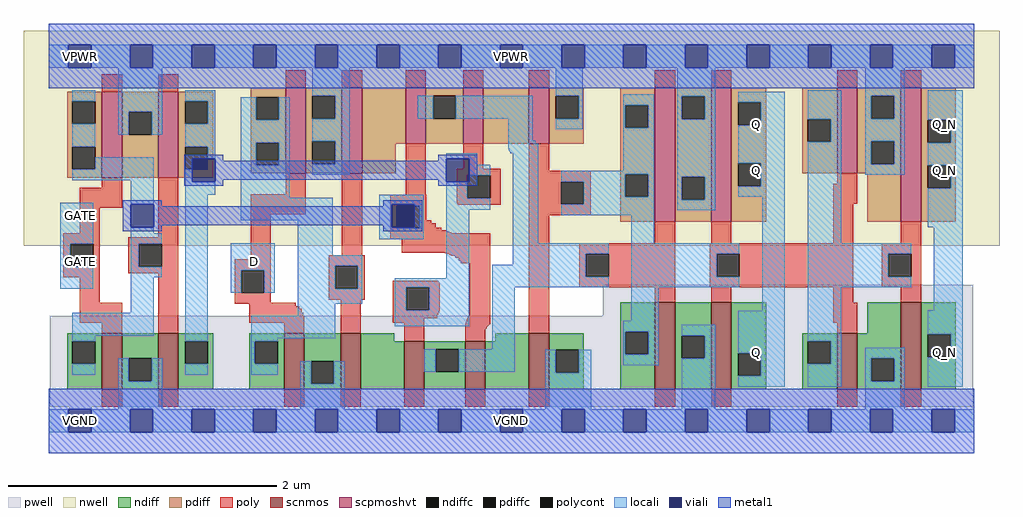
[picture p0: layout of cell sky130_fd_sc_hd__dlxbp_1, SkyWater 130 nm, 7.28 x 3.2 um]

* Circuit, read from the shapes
.subckt sky130_fd_sc_hd__dlxbp_1 D GATE VGND VNB VPB VPWR Q Q_N
XM1 VGND GATE n1 VNB sky130_fd_pr__nfet_01v8 w=0.42 l=0.15
XM2 n2 n1 VGND VNB sky130_fd_pr__nfet_01v8 w=0.42 l=0.15
XM3 VGND D n3 VNB sky130_fd_pr__nfet_01v8 w=0.42 l=0.15
XM4 n4 n3 VGND VNB sky130_fd_pr__nfet_01v8 w=0.42 l=0.15
XM5 n5 n2 n4 VNB sky130_fd_pr__nfet_01v8 w=0.36 l=0.15
XM6 n6 n1 n5 VNB sky130_fd_pr__nfet_01v8 w=0.36 l=0.15
XM7 VGND n7 n6 VNB sky130_fd_pr__nfet_01v8 w=0.42 l=0.15
XM8 VGND n5 n7 VNB sky130_fd_pr__nfet_01v8 w=0.65 l=0.15
XM9 Q n7 VGND VNB sky130_fd_pr__nfet_01v8 w=0.65 l=0.15
XM10 VGND n7 n8 VNB sky130_fd_pr__nfet_01v8 w=0.42 l=0.15
XM11 Q_N n8 VGND VNB sky130_fd_pr__nfet_01v8 w=0.65 l=0.15
XM12 VPWR GATE n1 VPB sky130_fd_pr__pfet_01v8_hvt w=0.64 l=0.15
XM13 n2 n1 VPWR VPB sky130_fd_pr__pfet_01v8_hvt w=0.64 l=0.15
XM14 VPWR D n3 VPB sky130_fd_pr__pfet_01v8_hvt w=0.64 l=0.15
XM15 n9 n3 VPWR VPB sky130_fd_pr__pfet_01v8_hvt w=0.64 l=0.15
XM16 n5 n1 n9 VPB sky130_fd_pr__pfet_01v8_hvt w=0.42 l=0.15
XM17 n10 n2 n5 VPB sky130_fd_pr__pfet_01v8_hvt w=0.42 l=0.15
XM18 VPWR n7 n10 VPB sky130_fd_pr__pfet_01v8_hvt w=0.42 l=0.15
XM19 VPWR n5 n7 VPB sky130_fd_pr__pfet_01v8_hvt w=1 l=0.15
XM20 Q n7 VPWR VPB sky130_fd_pr__pfet_01v8_hvt w=1 l=0.15
XM21 VPWR n7 n8 VPB sky130_fd_pr__pfet_01v8_hvt w=0.64 l=0.15
XM22 Q_N n8 VPWR VPB sky130_fd_pr__pfet_01v8_hvt w=1 l=0.15
.ends

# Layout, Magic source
magic
tech sky130A
magscale 1 2
<< nwell >>
rect -38 261 1418 582
<< pwell >>
rect 826 157 1379 203
rect 1 21 1379 157
rect 30 -17 64 21
<< scnmos >>
rect 79 47 109 131
rect 163 47 193 131
rect 351 47 381 131
rect 435 47 465 131
rect 530 47 560 119
rect 621 47 651 119
rect 716 47 746 131
rect 904 47 934 177
rect 988 47 1018 177
rect 1176 47 1206 131
rect 1271 47 1301 177
<< scpmoshvt >>
rect 79 363 109 491
rect 163 363 193 491
rect 353 369 383 497
rect 437 369 467 497
rect 532 413 562 497
rect 618 413 648 497
rect 716 413 746 497
rect 904 297 934 497
rect 988 297 1018 497
rect 1176 369 1206 497
rect 1271 297 1301 497
<< ndiff >>
rect 27 119 79 131
rect 27 85 35 119
rect 69 85 79 119
rect 27 47 79 85
rect 109 93 163 131
rect 109 59 119 93
rect 153 59 163 93
rect 109 47 163 59
rect 193 119 245 131
rect 193 85 203 119
rect 237 85 245 119
rect 193 47 245 85
rect 299 119 351 131
rect 299 85 307 119
rect 341 85 351 119
rect 299 47 351 85
rect 381 89 435 131
rect 381 55 391 89
rect 425 55 435 89
rect 381 47 435 55
rect 465 119 515 131
rect 852 133 904 177
rect 666 119 716 131
rect 465 47 530 119
rect 560 107 621 119
rect 560 73 577 107
rect 611 73 621 107
rect 560 47 621 73
rect 651 47 716 119
rect 746 106 798 131
rect 746 72 756 106
rect 790 72 798 106
rect 746 47 798 72
rect 852 99 860 133
rect 894 99 904 133
rect 852 47 904 99
rect 934 127 988 177
rect 934 93 944 127
rect 978 93 988 127
rect 934 47 988 93
rect 1018 101 1070 177
rect 1221 131 1271 177
rect 1018 67 1028 101
rect 1062 67 1070 101
rect 1018 47 1070 67
rect 1124 119 1176 131
rect 1124 85 1132 119
rect 1166 85 1176 119
rect 1124 47 1176 85
rect 1206 93 1271 131
rect 1206 59 1227 93
rect 1261 59 1271 93
rect 1206 47 1271 59
rect 1301 129 1353 177
rect 1301 95 1311 129
rect 1345 95 1353 129
rect 1301 47 1353 95
<< pdiff >>
rect 27 477 79 491
rect 27 443 35 477
rect 69 443 79 477
rect 27 409 79 443
rect 27 375 35 409
rect 69 375 79 409
rect 27 363 79 375
rect 109 461 163 491
rect 109 427 119 461
rect 153 427 163 461
rect 109 363 163 427
rect 193 477 245 491
rect 193 443 203 477
rect 237 443 245 477
rect 193 409 245 443
rect 193 375 203 409
rect 237 375 245 409
rect 193 363 245 375
rect 301 483 353 497
rect 301 449 309 483
rect 343 449 353 483
rect 301 415 353 449
rect 301 381 309 415
rect 343 381 353 415
rect 301 369 353 381
rect 383 485 437 497
rect 383 451 393 485
rect 427 451 437 485
rect 383 417 437 451
rect 383 383 393 417
rect 427 383 437 417
rect 383 369 437 383
rect 467 413 532 497
rect 562 485 618 497
rect 562 451 573 485
rect 607 451 618 485
rect 562 413 618 451
rect 648 413 716 497
rect 746 485 798 497
rect 746 451 756 485
rect 790 451 798 485
rect 746 413 798 451
rect 852 471 904 497
rect 852 437 860 471
rect 894 437 904 471
rect 467 369 517 413
rect 852 368 904 437
rect 852 334 860 368
rect 894 334 904 368
rect 852 297 904 334
rect 934 484 988 497
rect 934 450 944 484
rect 978 450 988 484
rect 934 364 988 450
rect 934 330 944 364
rect 978 330 988 364
rect 934 297 988 330
rect 1018 475 1070 497
rect 1018 441 1028 475
rect 1062 441 1070 475
rect 1018 384 1070 441
rect 1018 350 1028 384
rect 1062 350 1070 384
rect 1124 450 1176 497
rect 1124 416 1132 450
rect 1166 416 1176 450
rect 1124 369 1176 416
rect 1206 485 1271 497
rect 1206 451 1227 485
rect 1261 451 1271 485
rect 1206 417 1271 451
rect 1206 383 1227 417
rect 1261 383 1271 417
rect 1206 369 1271 383
rect 1018 297 1070 350
rect 1221 297 1271 369
rect 1301 449 1353 497
rect 1301 415 1311 449
rect 1345 415 1353 449
rect 1301 381 1353 415
rect 1301 347 1311 381
rect 1345 347 1353 381
rect 1301 297 1353 347
<< ndiffc >>
rect 35 85 69 119
rect 119 59 153 93
rect 203 85 237 119
rect 307 85 341 119
rect 391 55 425 89
rect 577 73 611 107
rect 756 72 790 106
rect 860 99 894 133
rect 944 93 978 127
rect 1028 67 1062 101
rect 1132 85 1166 119
rect 1227 59 1261 93
rect 1311 95 1345 129
<< pdiffc >>
rect 35 443 69 477
rect 35 375 69 409
rect 119 427 153 461
rect 203 443 237 477
rect 203 375 237 409
rect 309 449 343 483
rect 309 381 343 415
rect 393 451 427 485
rect 393 383 427 417
rect 573 451 607 485
rect 756 451 790 485
rect 860 437 894 471
rect 860 334 894 368
rect 944 450 978 484
rect 944 330 978 364
rect 1028 441 1062 475
rect 1028 350 1062 384
rect 1132 416 1166 450
rect 1227 451 1261 485
rect 1227 383 1261 417
rect 1311 415 1345 449
rect 1311 347 1345 381
<< poly >>
rect 79 491 109 517
rect 163 491 193 517
rect 353 497 383 523
rect 437 497 467 523
rect 532 497 562 523
rect 618 497 648 523
rect 716 497 746 523
rect 904 497 934 523
rect 988 497 1018 523
rect 1176 497 1206 523
rect 1271 497 1301 523
rect 79 348 109 363
rect 46 318 109 348
rect 46 280 76 318
rect 21 264 76 280
rect 163 274 193 363
rect 353 338 383 369
rect 21 230 32 264
rect 66 230 76 264
rect 21 214 76 230
rect 118 264 193 274
rect 118 230 134 264
rect 168 230 193 264
rect 301 308 383 338
rect 301 241 331 308
rect 437 247 467 369
rect 532 337 562 413
rect 618 376 648 413
rect 608 366 674 376
rect 509 321 563 337
rect 608 332 624 366
rect 658 332 674 366
rect 608 326 674 332
rect 609 324 674 326
rect 610 322 674 324
rect 716 373 746 413
rect 716 357 808 373
rect 716 323 764 357
rect 798 323 808 357
rect 509 287 519 321
rect 553 299 563 321
rect 716 307 808 323
rect 553 295 570 299
rect 553 288 577 295
rect 553 287 585 288
rect 509 284 585 287
rect 509 283 592 284
rect 509 282 594 283
rect 509 281 597 282
rect 509 280 600 281
rect 509 271 658 280
rect 526 251 658 271
rect 591 250 658 251
rect 594 249 658 250
rect 597 248 658 249
rect 599 247 658 248
rect 118 220 193 230
rect 46 176 76 214
rect 46 146 109 176
rect 79 131 109 146
rect 163 131 193 220
rect 277 225 331 241
rect 277 191 287 225
rect 321 191 331 225
rect 277 176 331 191
rect 417 231 471 247
rect 601 246 658 247
rect 606 243 658 246
rect 611 239 658 243
rect 614 235 658 239
rect 417 197 427 231
rect 461 197 471 231
rect 417 181 471 197
rect 513 207 581 209
rect 513 205 582 207
rect 513 199 583 205
rect 277 175 368 176
rect 299 171 368 175
rect 299 167 373 171
rect 299 161 377 167
rect 299 157 379 161
rect 299 146 381 157
rect 351 131 381 146
rect 435 131 465 181
rect 513 165 533 199
rect 567 165 583 199
rect 513 164 583 165
rect 513 161 582 164
rect 513 158 581 161
rect 513 153 579 158
rect 628 157 658 235
rect 627 156 658 157
rect 625 153 658 156
rect 513 146 560 153
rect 624 151 658 153
rect 623 148 658 151
rect 530 119 560 146
rect 622 145 658 148
rect 621 144 658 145
rect 621 143 657 144
rect 621 142 655 143
rect 621 140 654 142
rect 621 139 653 140
rect 621 137 652 139
rect 621 119 651 137
rect 716 131 746 307
rect 1176 354 1206 369
rect 1170 324 1206 354
rect 904 265 934 297
rect 988 265 1018 297
rect 1170 265 1200 324
rect 1271 265 1301 297
rect 791 249 934 265
rect 791 215 801 249
rect 835 215 934 249
rect 791 199 934 215
rect 986 249 1200 265
rect 986 215 996 249
rect 1030 215 1200 249
rect 986 199 1200 215
rect 1242 249 1301 265
rect 1242 215 1252 249
rect 1286 215 1301 249
rect 1242 199 1301 215
rect 904 177 934 199
rect 988 177 1018 199
rect 1170 176 1200 199
rect 1271 177 1301 199
rect 1170 146 1206 176
rect 1176 131 1206 146
rect 79 21 109 47
rect 163 21 193 47
rect 351 21 381 47
rect 435 21 465 47
rect 530 21 560 47
rect 621 21 651 47
rect 716 21 746 47
rect 904 21 934 47
rect 988 21 1018 47
rect 1176 21 1206 47
rect 1271 21 1301 47
<< polycont >>
rect 32 230 66 264
rect 134 230 168 264
rect 624 332 658 366
rect 764 323 798 357
rect 519 287 553 321
rect 287 191 321 225
rect 427 197 461 231
rect 533 165 567 199
rect 801 215 835 249
rect 996 215 1030 249
rect 1252 215 1286 249
<< locali >>
rect 0 527 29 561
rect 63 527 121 561
rect 155 527 213 561
rect 247 527 305 561
rect 339 527 397 561
rect 431 527 489 561
rect 523 527 581 561
rect 615 527 673 561
rect 707 527 765 561
rect 799 527 857 561
rect 891 527 949 561
rect 983 527 1041 561
rect 1075 527 1133 561
rect 1167 527 1225 561
rect 1259 527 1317 561
rect 1351 527 1380 561
rect 35 477 69 493
rect 35 409 69 443
rect 103 461 169 527
rect 103 427 119 461
rect 153 427 169 461
rect 203 477 248 493
rect 393 485 449 527
rect 756 485 796 527
rect 237 443 248 477
rect 203 409 248 443
rect 69 375 156 393
rect 35 359 156 375
rect 17 264 66 325
rect 17 230 32 264
rect 17 197 66 230
rect 122 323 156 359
rect 122 280 156 289
rect 237 391 248 409
rect 203 357 214 375
rect 203 337 248 357
rect 286 449 309 483
rect 343 449 359 483
rect 286 415 359 449
rect 286 381 309 415
rect 343 381 359 415
rect 122 264 168 280
rect 122 230 134 264
rect 122 214 168 230
rect 122 161 156 214
rect 35 127 156 161
rect 35 119 69 127
rect 203 119 237 337
rect 286 333 359 381
rect 427 451 449 485
rect 550 451 573 485
rect 607 451 722 485
rect 393 417 449 451
rect 427 383 449 417
rect 685 418 722 451
rect 790 451 796 485
rect 756 435 796 451
rect 857 471 903 487
rect 857 437 860 471
rect 894 437 903 471
rect 685 413 726 418
rect 685 407 730 413
rect 686 404 730 407
rect 687 402 730 404
rect 688 399 730 402
rect 393 367 449 383
rect 593 391 639 399
rect 627 382 639 391
rect 627 366 658 382
rect 286 299 423 333
rect 271 225 337 265
rect 271 191 287 225
rect 321 191 337 225
rect 371 247 423 299
rect 493 323 559 337
rect 493 289 511 323
rect 545 321 559 323
rect 493 287 519 289
rect 553 287 559 321
rect 493 271 559 287
rect 593 332 624 357
rect 593 315 658 332
rect 371 231 467 247
rect 371 197 427 231
rect 461 197 467 231
rect 593 213 627 315
rect 692 265 730 399
rect 857 373 903 437
rect 764 368 903 373
rect 764 357 860 368
rect 798 334 860 357
rect 894 334 903 368
rect 798 323 903 334
rect 764 307 903 323
rect 937 484 994 527
rect 937 450 944 484
rect 978 450 994 484
rect 937 364 994 450
rect 937 330 944 364
rect 978 330 994 364
rect 1028 475 1098 491
rect 1062 441 1098 475
rect 1028 384 1098 441
rect 1062 350 1098 384
rect 1028 334 1098 350
rect 937 314 994 330
rect 869 265 903 307
rect 692 249 835 265
rect 692 233 801 249
rect 371 175 467 197
rect 516 199 627 213
rect 371 157 427 175
rect 35 69 69 85
rect 103 59 119 93
rect 153 59 169 93
rect 203 69 237 85
rect 302 123 427 157
rect 516 165 533 199
rect 567 165 627 199
rect 516 141 627 165
rect 661 215 801 233
rect 661 199 835 215
rect 869 249 1030 265
rect 869 215 996 249
rect 869 199 1030 215
rect 302 119 341 123
rect 302 85 307 119
rect 661 107 695 199
rect 869 149 910 199
rect 1064 164 1098 334
rect 302 69 341 85
rect 103 17 169 59
rect 375 55 391 89
rect 425 55 441 89
rect 560 73 577 107
rect 611 73 695 107
rect 857 133 910 149
rect 375 17 441 55
rect 740 72 756 106
rect 790 72 809 106
rect 857 99 860 133
rect 894 99 910 133
rect 857 83 910 99
rect 944 127 994 143
rect 978 93 994 127
rect 740 17 809 72
rect 944 17 994 93
rect 1028 101 1098 164
rect 1062 67 1098 101
rect 1028 51 1098 67
rect 1132 450 1182 493
rect 1166 416 1182 450
rect 1132 265 1182 416
rect 1218 485 1277 527
rect 1218 451 1227 485
rect 1261 451 1277 485
rect 1218 417 1277 451
rect 1218 383 1227 417
rect 1261 383 1277 417
rect 1218 367 1277 383
rect 1311 449 1363 493
rect 1345 415 1363 449
rect 1311 381 1363 415
rect 1345 347 1363 381
rect 1311 289 1363 347
rect 1132 249 1286 265
rect 1132 215 1252 249
rect 1132 199 1286 215
rect 1132 119 1182 199
rect 1320 165 1363 289
rect 1166 85 1182 119
rect 1311 129 1363 165
rect 1132 51 1182 85
rect 1218 93 1277 109
rect 1218 59 1227 93
rect 1261 59 1277 93
rect 1218 17 1277 59
rect 1345 95 1363 129
rect 1311 51 1363 95
rect 0 -17 29 17
rect 63 -17 121 17
rect 155 -17 213 17
rect 247 -17 305 17
rect 339 -17 397 17
rect 431 -17 489 17
rect 523 -17 581 17
rect 615 -17 673 17
rect 707 -17 765 17
rect 799 -17 857 17
rect 891 -17 949 17
rect 983 -17 1041 17
rect 1075 -17 1133 17
rect 1167 -17 1225 17
rect 1259 -17 1317 17
rect 1351 -17 1380 17
<< viali >>
rect 29 527 63 561
rect 121 527 155 561
rect 213 527 247 561
rect 305 527 339 561
rect 397 527 431 561
rect 489 527 523 561
rect 581 527 615 561
rect 673 527 707 561
rect 765 527 799 561
rect 857 527 891 561
rect 949 527 983 561
rect 1041 527 1075 561
rect 1133 527 1167 561
rect 1225 527 1259 561
rect 1317 527 1351 561
rect 122 289 156 323
rect 214 375 237 391
rect 237 375 248 391
rect 214 357 248 375
rect 593 366 627 391
rect 593 357 624 366
rect 624 357 627 366
rect 511 321 545 323
rect 511 289 519 321
rect 519 289 545 321
rect 29 -17 63 17
rect 121 -17 155 17
rect 213 -17 247 17
rect 305 -17 339 17
rect 397 -17 431 17
rect 489 -17 523 17
rect 581 -17 615 17
rect 673 -17 707 17
rect 765 -17 799 17
rect 857 -17 891 17
rect 949 -17 983 17
rect 1041 -17 1075 17
rect 1133 -17 1167 17
rect 1225 -17 1259 17
rect 1317 -17 1351 17
<< metal1 >>
rect 0 561 1380 592
rect 0 527 29 561
rect 63 527 121 561
rect 155 527 213 561
rect 247 527 305 561
rect 339 527 397 561
rect 431 527 489 561
rect 523 527 581 561
rect 615 527 673 561
rect 707 527 765 561
rect 799 527 857 561
rect 891 527 949 561
rect 983 527 1041 561
rect 1075 527 1133 561
rect 1167 527 1225 561
rect 1259 527 1317 561
rect 1351 527 1380 561
rect 0 496 1380 527
rect 202 391 260 397
rect 202 357 214 391
rect 248 388 260 391
rect 581 391 639 397
rect 581 388 593 391
rect 248 360 593 388
rect 248 357 260 360
rect 202 351 260 357
rect 581 357 593 360
rect 627 357 639 391
rect 581 351 639 357
rect 110 323 168 329
rect 110 289 122 323
rect 156 320 168 323
rect 499 323 557 329
rect 499 320 511 323
rect 156 292 511 320
rect 156 289 168 292
rect 110 283 168 289
rect 499 289 511 292
rect 545 289 557 323
rect 499 283 557 289
rect 0 17 1380 48
rect 0 -17 29 17
rect 63 -17 121 17
rect 155 -17 213 17
rect 247 -17 305 17
rect 339 -17 397 17
rect 431 -17 489 17
rect 523 -17 581 17
rect 615 -17 673 17
rect 707 -17 765 17
rect 799 -17 857 17
rect 891 -17 949 17
rect 983 -17 1041 17
rect 1075 -17 1133 17
rect 1167 -17 1225 17
rect 1259 -17 1317 17
rect 1351 -17 1380 17
rect 0 -48 1380 -17
<< labels >>
flabel locali s 289 221 323 255 0 FreeSans 200 0 0 0 D
port 1 nsew signal input
flabel locali s 30 221 64 255 0 FreeSans 200 0 0 0 GATE
port 2 nsew clock input
flabel locali s 1039 357 1073 391 0 FreeSans 200 0 0 0 Q
port 7 nsew signal output
flabel locali s 30 289 64 323 0 FreeSans 200 0 0 0 GATE
port 2 nsew clock input
flabel locali s 1039 425 1073 459 0 FreeSans 200 0 0 0 Q
port 7 nsew signal output
flabel locali s 1039 85 1073 119 0 FreeSans 200 0 0 0 Q
port 7 nsew signal output
flabel locali s 1319 425 1353 459 0 FreeSans 200 0 0 0 Q_N
port 8 nsew signal output
flabel locali s 1319 357 1353 391 0 FreeSans 200 0 0 0 Q_N
port 8 nsew signal output
flabel locali s 1319 85 1353 119 0 FreeSans 200 0 0 0 Q_N
port 8 nsew signal output
flabel metal1 s 30 -17 64 17 0 FreeSans 200 0 0 0 VGND
port 3 nsew ground bidirectional abutment
flabel metal1 s 30 527 64 561 0 FreeSans 200 0 0 0 VPWR
port 6 nsew power bidirectional abutment
flabel nwell s 30 527 64 561 0 FreeSans 200 0 0 0 VPB
port 5 nsew power bidirectional
flabel nwell s 47 544 47 544 0 FreeSans 200 0 0 0 VPB
flabel pwell s 30 -17 64 17 0 FreeSans 200 0 0 0 VNB
port 4 nsew ground bidirectional
flabel pwell s 47 0 47 0 0 FreeSans 200 0 0 0 VNB
rlabel comment s 0 0 0 0 4 dlxbp_1
rlabel metal1 s 0 -48 1380 48 1 VGND
port 3 nsew ground bidirectional abutment
rlabel metal1 s 0 496 1380 592 1 VPWR
port 6 nsew power bidirectional abutment
<< properties >>
string FIXED_BBOX 0 0 1380 544
string GDS_END 2834022
string GDS_FILE $PDKPATH/libs.ref/sky130_fd_sc_hd/gds/sky130_fd_sc_hd.gds
string GDS_START 2821536
string LEFclass CORE
string LEFsite unithd
string LEFsymmetry X Y R90
string path 0.000 0.000 34.500 0.000 
<< end >>
